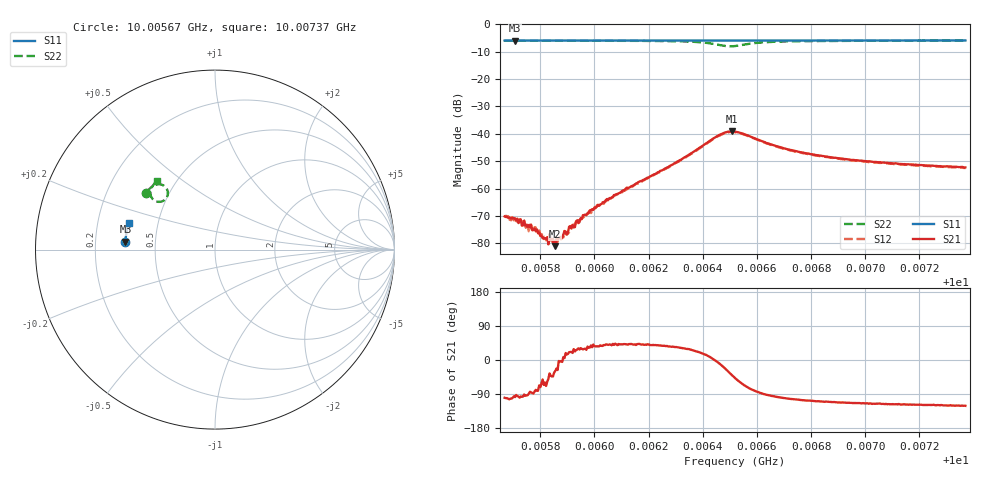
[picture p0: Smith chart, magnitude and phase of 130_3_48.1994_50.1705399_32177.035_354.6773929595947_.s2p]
#  HZ  S  RI  R  50.00
! Rohde & Schwarz Vector Network Analyzer
! Rohde-Schwarz,ZNB20-2Port,1311601062101988,3.16
! Created: UTC 3/20/2024, 11:41:53 AM
! freq[Hz]  re:S11  im:S11  re:S21  im:S21  re:S12  im:S12  re:S22  im:S22
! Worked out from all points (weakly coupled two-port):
!   401 points, 10.00567 GHz to 10.00737 GHz, reference 50 ohm
!   highest |S21| = -39.15 dB at 10.00651 GHz (marker M1); lowest = -81.0 dB at 10.00586 GHz (marker M2)
!   lowest |S11| = -6.0 dB at 10.00571 GHz (marker M3), VSWR 3.01, Z = 16.7 + j1.93 ohm
!   |S11| at or under -10 dB: nowhere
!   |S22| runs from -8.1 to -6.0 dB; largest |S21 - S12| = 0.00065
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1.0005668e10  -0.4992 0.041  -5.23e-05 -0.000306  -4.13e-05 -0.000295  -0.3826 0.3175
1.0005707e10  -0.4989 0.0434  -3.97e-05 -0.000285  -2.96e-05 -0.00027  -0.3808 0.3199
1.0005728e10  -0.499 0.045  -2.99e-05 -0.000273  -1.3e-05 -0.000253  -0.3798 0.3211
1.0005749e10  -0.4989 0.0463  -1.3e-05 -0.000218  -1.9e-06 -0.000178  -0.3787 0.3225
1.0005787e10  -0.4989 0.0488  2.77e-05 -0.000178  2.39e-05 -0.000147  -0.3767 0.3248
1.0005821e10  -0.4987 0.051  4.42e-05 -0.000112  5.45e-05 -0.000111  -0.3751 0.327
1.0005855e10  -0.4985 0.0533  7.77e-05 -4.29e-05  8.77e-05 -1.55e-05  -0.3732 0.3291
1.0005902e10  -0.4982 0.0562  0.000151 4.4e-05  0.000148 3.01e-05  -0.3706 0.3321
1.0005924e10  -0.4981 0.0576  0.000171 9.37e-05  0.000185 0.000102  -0.3691 0.3337
1.0005953e10  -0.498 0.0596  0.000241 0.000136  0.000232 0.000173  -0.3672 0.3357
1.0006004e10  -0.4975 0.0628  0.000364 0.000263  0.000337 0.000281  -0.3639 0.3392
1.0006068e10  -0.4972 0.0671  0.000512 0.000472  0.000504 0.000484  -0.3592 0.3436
1.0006238e10  -0.4959 0.0781  0.00157 0.00125  0.00147 0.00131  -0.3406 0.357
1.0006374e10  -0.4945 0.087  0.00457 0.00198  0.00437 0.00214  -0.3046 0.3635
1.0006455e10  -0.4931 0.092  0.00912 -0.000948  0.00893 -0.000459  -0.2649 0.3294
1.0006506e10  -0.4925 0.0946  0.00857 -0.00694  0.00871 -0.00631  -0.2812 0.2762
1.0006519e10  -0.4925 0.0953  0.00738 -0.00807  0.00762 -0.00749  -0.2943 0.2687
1.0006587e10  -0.4923 0.0993  0.00144 -0.0083  0.00188 -0.00806  -0.3483 0.2828
1.0006676e10  -0.4915 0.1054  -0.000782 -0.00581  -0.000521 -0.00572  -0.3604 0.316
1.0006804e10  -0.4901 0.1134  -0.0013 -0.00401  -0.00109 -0.00397  -0.3552 0.3402
1.0007089e10  -0.4862 0.1316  -0.0013 -0.0026  -0.00115 -0.00261  -0.3387 0.3659
1.000737e10  -0.4816 0.1491  -0.00125 -0.00208  -0.00111 -0.00209  -0.3235 0.3826
